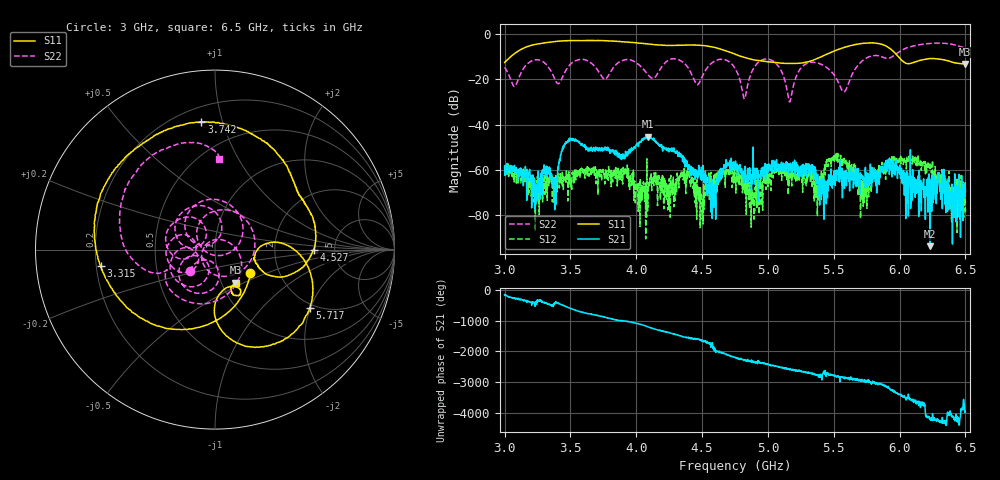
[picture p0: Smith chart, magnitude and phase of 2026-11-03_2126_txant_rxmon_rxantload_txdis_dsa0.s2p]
! HEWLETT PACKARD,8720ES,MY41003347,7.72, via bringup/vna_tests.py
! txant_rxmon_rxantload_txdis_dsa0
! measured 2026-11-03 21:27:56, 1601 points, 3000000000-6500000000 Hz, IF bandwidth 1000 Hz, source -40.00 dBm, kit CALK35MD
! board A, DSA 0.00 dB (set before each sweep)
! board A, CTRL bits {'tx_dis': 1} set before each sweep
# HZ S RI R 50
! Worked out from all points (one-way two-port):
!   1601 points, 3 GHz to 6.5 GHz, reference 50 ohm
!   highest |S21| = -45.26 dB at 4.092 GHz (marker M1); lowest = -93.7 dB at 6.233 GHz (marker M2)
!   lowest |S11| = -13.3 dB at 6.498 GHz (marker M3), VSWR 1.56, Z = 58.2 - j22.6 ohm
!   |S11| at or under -10 dB: start of sweep to 3.046 GHz; 4.803 GHz to 5.406 GHz (603.3 MHz wide, 11.8 % of centre); 5.991 GHz to end of sweep
!   |S22| runs from -30.0 to -4.0 dB; largest |S21 - S12| = 0.0058
!   S11 on the Smith chart (normalised r, x): 3 GHz: 1.43, -0.39; 3.315 GHz: 0.22, -0.07; 3.742 GHz: 0.29, +0.86; 4.527 GHz: 3.43, -0.02; 5.717 GHz: 1.87, -1.98; 6.5 GHz: 1.17, -0.45
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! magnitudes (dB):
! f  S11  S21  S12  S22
! 3 GHz  -12.6  -58.3  -58.8  -14.7
! 3.234 GHz  -4.6  -66.6  -79.1  -11.4
! 3.315 GHz  -3.8  -58.8  -61.7  -13.4
! 3.383 GHz  -3.3  -72.8  -67.2  -20.0
! 3.455 GHz  -3.0  -48.8  -63.9  -17.2
! 3.584 GHz  -2.9  -48.8  -59.2  -11.1
! 3.742 GHz  -2.9  -51.1  -61.1  -19.0
! 4.092 GHz  -4.4  -45.3  -69.0  -18.1
! 4.168 GHz  -4.8  -48.5  -62.8  -16.8
! 4.527 GHz  -5.2  -65.4  -71.2  -15.9
! 4.586 GHz  -5.8  -67.3  -64.5  -12.3
! 4.75 GHz  -8.9  -57.7  -65.2  -15.1
! 4.822 GHz  -10.3  -63.7  -63.6  -28.6
! 5.032 GHz  -12.4  -55.8  -61.9  -11.7
! 5.166 GHz  -13.0  -57.4  -63.7  -30.0
! 5.334 GHz  -11.8  -58.5  -59.5  -12.4
! 5.577 GHz  -6.0  -61.2  -56.3  -25.5
! 5.717 GHz  -4.1  -63.9  -68.7  -11.8
! 5.918 GHz  -6.0  -58.5  -55.3  -10.7
! 6.233 GHz  -10.8  -93.7  -59.6  -4.2
! 6.498 GHz  -13.3  -65.8  -65.3  -6.0
! 6.5 GHz  -13.2  -69.5  -79.0  -6.0
